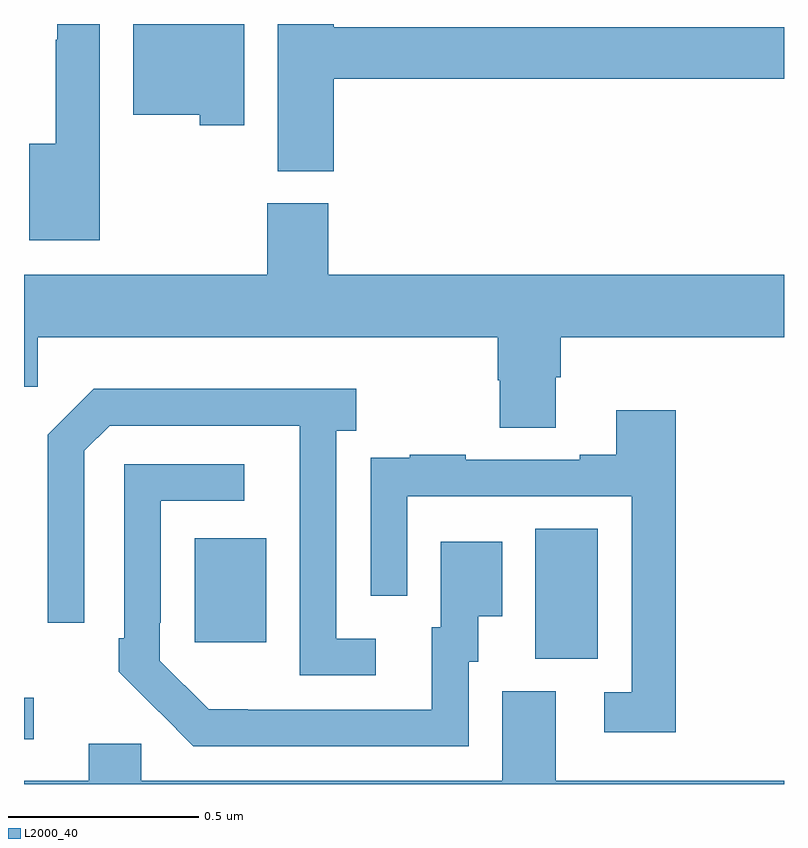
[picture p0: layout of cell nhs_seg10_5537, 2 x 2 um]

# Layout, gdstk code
import gdstk
lib = gdstk.Library(unit=1e-6, precision=1e-09)
def R(c, l, rs):  # rectangles x0, y0, x1, y1
    for r in rs: c.add(gdstk.rectangle(r[:2], r[2:], *l))
def P(c, l, *ps):  # polygons
    for p in ps: c.add(gdstk.Polygon(p, *l))
L2000_40 = (2000, 40)

nhs_seg10_5537 = lib.new_cell('nhs_seg10_5537')
R(nhs_seg10_5537, L2000_40, [(180,1272.618,180.025,1272.727), (181.346,1272.829,181.51,1273.172), (180.449,1272.873,180.637,1273.147)])
P(nhs_seg10_5537, L2000_40, [(180.199,1274.5),(180.087,1274.5),(180.087,1274.459),(180.083,1274.459),(180.083,1274.185),(180.014,1274.185),(180.014,1273.931),(180.199,1273.931)],
  [(180.815,1274.356),(182,1274.356),(182,1274.492),(180.815,1274.492),(180.815,1274.5),(180.668,1274.5),(180.668,1274.113),(180.815,1274.113)],
  [(180.58,1274.5),(180.287,1274.5),(180.287,1274.261),(180.462,1274.261),(180.462,1274.234),(180.58,1274.234)],
  [(181.399,1273.57),(181.412,1273.57),(181.412,1273.676),(182,1273.676),(182,1273.84),(180.8,1273.84),(180.8,1274.028),(180.64,1274.028),(180.64,1273.84),(180,1273.84),(180,1273.545),(180.036,1273.545),(180.036,1273.676),(181.247,1273.676),(181.247,1273.563),(181.252,1273.563),(181.252,1273.438),(181.399,1273.438)],
  [(180.925,1272.882),(180.822,1272.882),(180.822,1273.43),(180.874,1273.43),(180.874,1273.54),(180.184,1273.54),(180.063,1273.419),(180.063,1272.924),(180.159,1272.924),(180.159,1273.377),(180.225,1273.443),(180.725,1273.443),(180.725,1273.243),(180.726,1273.243),(180.726,1272.786),(180.925,1272.786)],
  [(181.715,1273.483),(181.559,1273.483),(181.559,1273.366),(181.463,1273.366),(181.463,1273.353),(181.163,1273.353),(181.163,1273.366),(181.015,1273.366),(181.015,1273.359),(180.913,1273.359),(180.913,1273.25),(180.912,1273.25),(180.912,1272.996),(181.008,1272.996),(181.008,1273.257),(181.599,1273.257),(181.599,1272.741),(181.527,1272.741),(181.527,1272.636),(181.715,1272.636)],
  [(181.17,1272.822),(181.195,1272.822),(181.195,1272.941),(181.258,1272.941),(181.258,1273.138),(181.097,1273.138),(181.097,1272.912),(181.073,1272.912),(181.073,1272.696),(180.589,1272.696),(180.589,1272.697),(180.486,1272.697),(180.357,1272.825),(180.357,1272.925),(180.36,1272.925),(180.36,1273.245),(180.58,1273.245),(180.58,1273.341),(180.264,1273.341),(180.264,1272.883),(180.249,1272.883),(180.249,1272.795),(180.354,1272.69),(180.355,1272.691),(180.446,1272.6),(181.17,1272.6)],
  [(182,1272.508),(181.399,1272.508),(181.399,1272.744),(181.259,1272.744),(181.259,1272.508),(180.309,1272.508),(180.309,1272.606),(180.17,1272.606),(180.17,1272.508),(180,1272.508),(180,1272.5),(182,1272.5)])

lib.write_gds('nhs_seg10_5537.gds')
